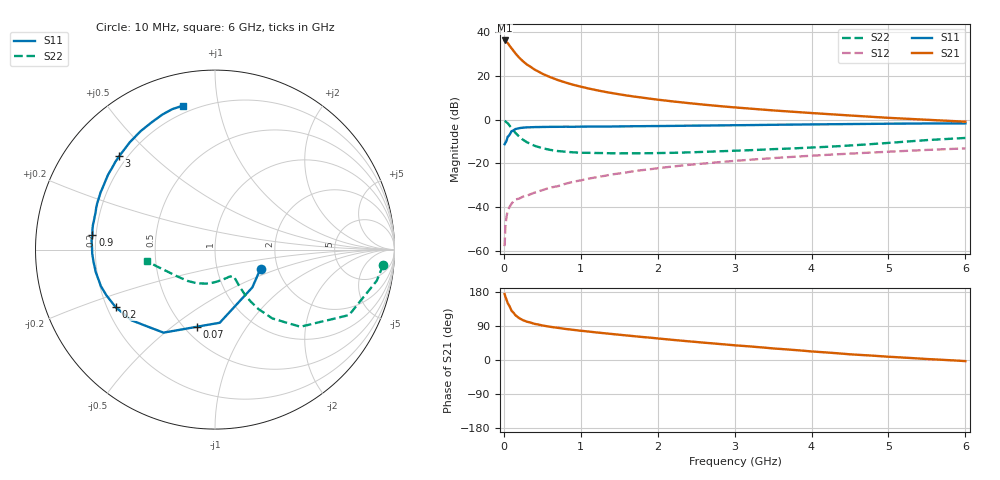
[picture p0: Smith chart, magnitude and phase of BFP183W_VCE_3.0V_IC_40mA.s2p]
! Infineon Technologies  Discrete & RF Semiconductors
! BFP183W
! VCE =  3.0 V,  IC =  40 mA
! Common Emitter S-Parameters:  Jan 2017
# GHz  S  MA  R  50
!  f  S11  S21  S12  S22
! GHz  MAG  ANG  MAG  ANG  MAG  ANG  MAG  ANG
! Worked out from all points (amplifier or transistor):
!   77 points, 10 MHz to 6 GHz, reference 50 ohm
!   highest |S21| = 36.1 dB at 10 MHz (marker M1)
!   |S21| within 3 dB of that: start of sweep to 87.15 MHz
!   unconditionally stable (mu >= 1): 640.2 MHz to 3.453 GHz
!   at 130 MHz: K = 0.39, MSG = 34.2 dB, |S12| = -37.1 dB
!   at 2.2 GHz: K = 1.08, MAG = 13.1 dB, |S12| = -21.4 dB
!   at 6 GHz: K = 0.87, MSG = 6.1 dB, |S12| = -13.1 dB
!   S11 on the Smith chart (normalised r, x): 10 MHz: 1.63, -0.37; 70 MHz: 0.58, -0.62; 200 MHz: 0.23, -0.26; 900 MHz: 0.19, +0.06; 3 GHz: 0.17, +0.40; 6 GHz: 0.16, +0.79
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0.01  0.2749 -22.6  63.98 174.2  0.0013 94.6  0.9412 -5.2
0.02  0.2961 -45.3  62.84 167.2  0.0037 84.3  0.9176 -10.9
0.05  0.4084 -86.3  55.85 150.1  0.0084 65.9  0.8313 -26.0
0.07  0.4408 -103.0  49.79 143.4  0.0098 61.2  0.7486 -31.5
0.1  0.5444 -121.8  42.44 130.0  0.0121 56.4  0.6413 -42.1
0.11  0.5528 -125.7  40.35 128.1  0.0127 54.9  0.612 -43.4
0.15  0.6097 -139.7  32.57 118.2  0.0151 49.9  0.4991 -50.2
0.2  0.6397 -149.9  25.88 110.4  0.0158 49.7  0.4091 -53.9
0.25  0.6567 -157.2  21.35 105.0  0.0176 46.9  0.3476 -55.6
0.3  0.6675 -162.2  18.08 101.1  0.0184 48.6  0.3048 -56.4
0.4  0.6762 -169.4  13.85 95.3  0.0216 52.9  0.253 -56.4
0.5  0.6803 -174.3  11.15 91.2  0.0246 55.8  0.2234 -55.9
0.7  0.6856 178.7  8.028 84.9  0.0303 60.9  0.1922 -55.2
0.9  0.6874 173.2  6.25 79.6  0.0382 62.8  0.1798 -56.3
1.1  0.6938 168.7  5.141 75.1  0.045 64.2  0.1748 -58.1
1.5  0.7014 160.7  3.78 66.7  0.0592 65.6  0.1704 -64.3
2.1  0.7167 149.8  2.725 55.0  0.0817 63.8  0.1738 -78.8
3  0.7455 135.7  1.9 38.8  0.1145 59.4  0.1955 -104.5
3.1  0.7481 134.2  1.842 37.3  0.1181 58.8  0.198 -107.3
4.1  0.7815 120.8  1.379 21.2  0.1538 52.3  0.2355 -133.9
5.1  0.8095 110.3  1.077 7.5  0.1891 45.4  0.3034 -157.8
6  0.8221 102.5  0.898 -2.9  0.2212 38.8  0.3823 -170.5
